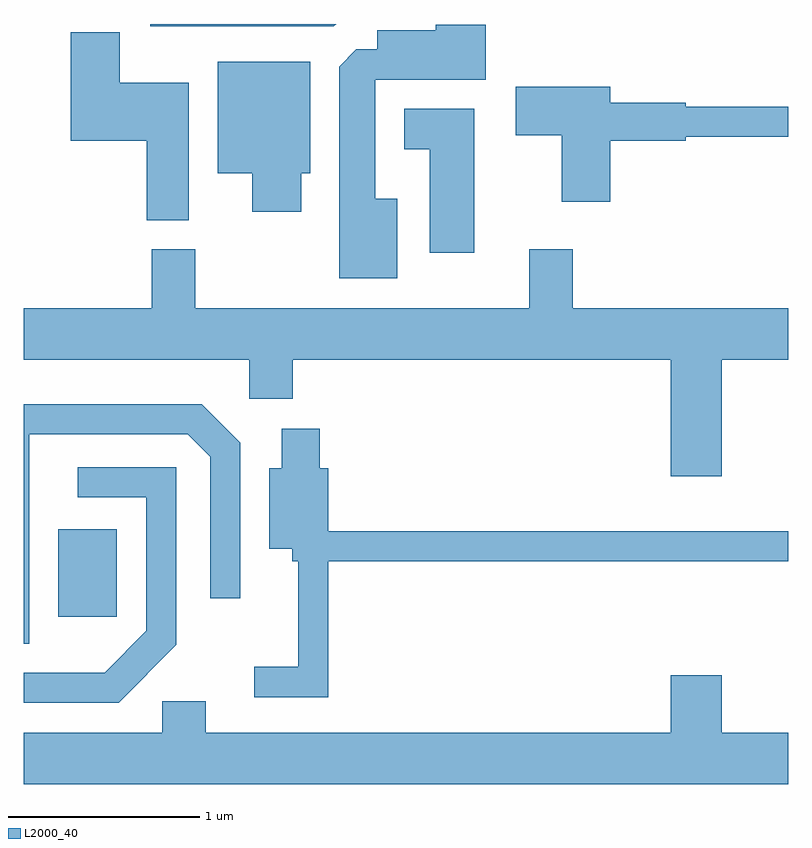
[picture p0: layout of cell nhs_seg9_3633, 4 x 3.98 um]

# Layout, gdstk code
import gdstk
lib = gdstk.Library(unit=1e-6, precision=1e-09)
def R(c, l, rs):  # rectangles x0, y0, x1, y1
    for r in rs: c.add(gdstk.rectangle(r[:2], r[2:], *l))
def P(c, l, *ps):  # polygons
    for p in ps: c.add(gdstk.Polygon(p, *l))
L2000_40 = (2000, 40)

nhs_seg9_3633 = lib.new_cell('nhs_seg9_3633')
R(nhs_seg9_3633, L2000_40, [(291.791,2019.331,292.099,2019.789)])
P(nhs_seg9_3633, L2000_40, [(293.245,2022.432),(292.273,2022.432),(292.273,2022.421),(293.234,2022.421)],
  [(293.564,2021.519),(293.449,2021.519),(293.449,2022.141),(294.029,2022.141),(294.029,2022.429),(293.766,2022.429),(293.766,2022.399),(293.461,2022.399),(293.461,2022.299),(293.352,2022.299),(293.261,2022.209),(293.261,2021.101),(293.564,2021.101)],
  [(292.474,2022.124),(292.114,2022.124),(292.114,2022.389),(291.856,2022.389),(291.856,2021.821),(292.256,2021.821),(292.256,2021.406),(292.474,2021.406)],
  [(293.064,2021.651),(293.109,2021.651),(293.109,2022.234),(292.626,2022.234),(292.626,2021.651),(292.806,2021.651),(292.806,2021.451),(293.064,2021.451)],
  [(294.679,2021.821),(295.074,2021.821),(295.074,2021.841),(295.611,2021.841),(295.611,2021.999),(295.074,2021.999),(295.074,2022.019),(294.679,2022.019),(294.679,2022.104),(294.186,2022.104),(294.186,2021.851),(294.426,2021.851),(294.426,2021.501),(294.679,2021.501)],
  [(293.969,2021.989),(293.601,2021.989),(293.601,2021.776),(293.736,2021.776),(293.736,2021.236),(293.969,2021.236)],
  [(294.996,2020.066),(295.264,2020.066),(295.264,2020.676),(295.611,2020.676),(295.611,2020.944),(294.484,2020.944),(294.484,2021.254),(294.256,2021.254),(294.256,2020.944),(292.509,2020.944),(292.509,2021.254),(292.281,2021.254),(292.281,2020.944),(291.611,2020.944),(291.611,2020.676),(292.791,2020.676),(292.791,2020.471),(293.019,2020.471),(293.019,2020.676),(294.996,2020.676)],
  [(291.639,2020.286),(292.469,2020.286),(292.586,2020.169),(292.586,2019.428),(292.744,2019.428),(292.744,2020.242),(292.542,2020.444),(291.611,2020.444),(291.611,2019.191),(291.639,2019.191)],
  [(293.204,2019.621),(295.611,2019.621),(295.611,2019.779),(293.204,2019.779),(293.204,2020.109),(293.159,2020.109),(293.159,2020.314),(292.961,2020.314),(292.961,2020.109),(292.896,2020.109),(292.896,2019.686),(293.016,2019.686),(293.016,2019.621),(293.046,2019.621),(293.046,2019.069),(292.818,2019.069),(292.818,2018.911),(293.204,2018.911)],
  [(292.409,2019.184),(292.409,2020.114),(291.893,2020.114),(291.893,2019.956),(292.251,2019.956),(292.251,2019.257),(292.034,2019.039),(291.611,2019.039),(291.611,2018.881),(292.107,2018.881)],
  [(295.611,2018.724),(295.264,2018.724),(295.264,2019.024),(294.996,2019.024),(294.996,2018.724),(292.564,2018.724),(292.564,2018.889),(292.336,2018.889),(292.336,2018.724),(291.611,2018.724),(291.611,2018.456),(295.611,2018.456)])

lib.write_gds('nhs_seg9_3633.gds')
